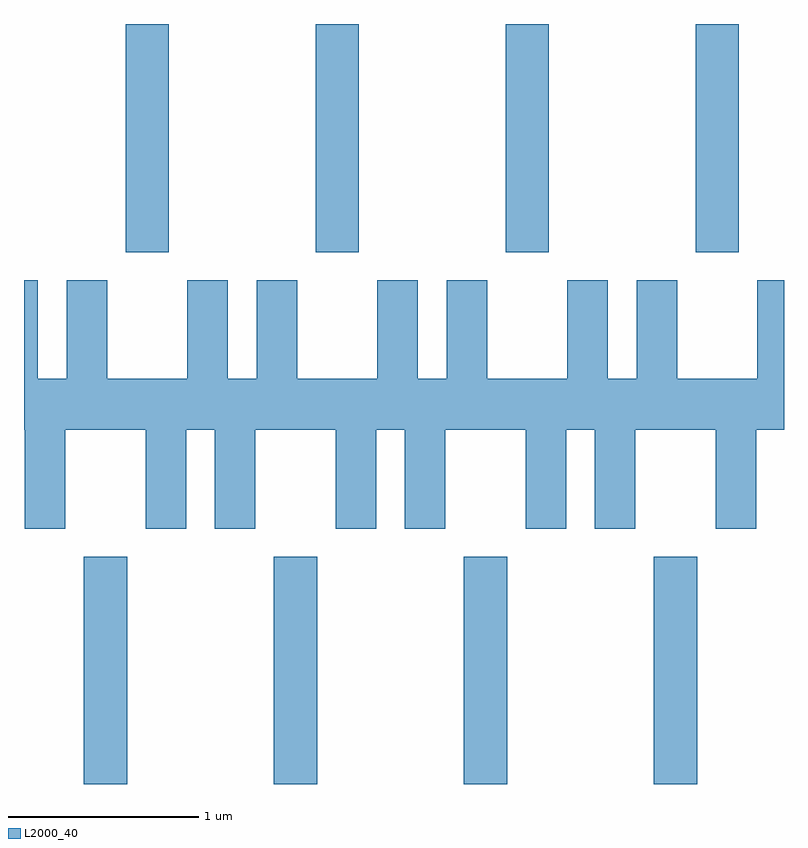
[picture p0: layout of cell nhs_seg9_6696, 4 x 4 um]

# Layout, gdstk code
import gdstk
lib = gdstk.Library(unit=1e-6, precision=1e-09)
def R(c, l, rs):  # rectangles x0, y0, x1, y1
    for r in rs: c.add(gdstk.rectangle(r[:2], r[2:], *l))
def A(c, l, x, y, w, h, nx, ny, dx, dy):  # array of equal rectangles
    R(c, l, [(x+i*dx, y+j*dy, x+i*dx+w, y+j*dy+h) for i in range(nx) for j in range(ny)])
def P(c, l, *ps):  # polygons
    for p in ps: c.add(gdstk.Polygon(p, *l))
L2000_40 = (2000, 40)

nhs_seg9_6696 = lib.new_cell('nhs_seg9_6696')
A(nhs_seg9_6696, L2000_40, 383.926, 1954.432, 0.228, 1.197, 4, 1, 1, 0)
A(nhs_seg9_6696, L2000_40, 384.146, 1957.231, 0.228, 1.201, 4, 1, 1, 0)
P(nhs_seg9_6696, L2000_40, [(386.049,1957.084),(385.836,1957.084),(385.836,1956.564),(385.684,1956.564),(385.684,1957.084),(385.471,1957.084),(385.471,1956.564),(385.049,1956.564),(385.049,1957.084),(384.836,1957.084),(384.836,1956.564),(384.684,1956.564),(384.684,1957.084),(384.471,1957.084),(384.471,1956.564),(384.049,1956.564),(384.049,1957.084),(383.836,1957.084),(383.836,1956.564),(383.684,1956.564),(383.684,1957.084),(383.611,1957.084),(383.611,1956.296),(383.616,1956.296),(383.616,1955.776),(383.829,1955.776),(383.829,1956.296),(384.251,1956.296),(384.251,1955.776),(384.464,1955.776),(384.464,1956.296),(384.616,1956.296),(384.616,1955.776),(384.829,1955.776),(384.829,1956.296),(385.251,1956.296),(385.251,1955.776),(385.464,1955.776),(385.464,1956.296),(385.616,1956.296),(385.616,1955.776),(385.829,1955.776),(385.829,1956.296),(386.251,1956.296),(386.251,1955.776),(386.464,1955.776),(386.464,1956.296),(386.616,1956.296),(386.616,1955.776),(386.829,1955.776),(386.829,1956.296),(387.251,1956.296),(387.251,1955.776),(387.464,1955.776),(387.464,1956.296),(387.611,1956.296),(387.611,1957.084),(387.471,1957.084),(387.471,1956.564),(387.049,1956.564),(387.049,1957.084),(386.836,1957.084),(386.836,1956.564),(386.684,1956.564),(386.684,1957.084),(386.471,1957.084),(386.471,1956.564),(386.049,1956.564)])

lib.write_gds('nhs_seg9_6696.gds')
